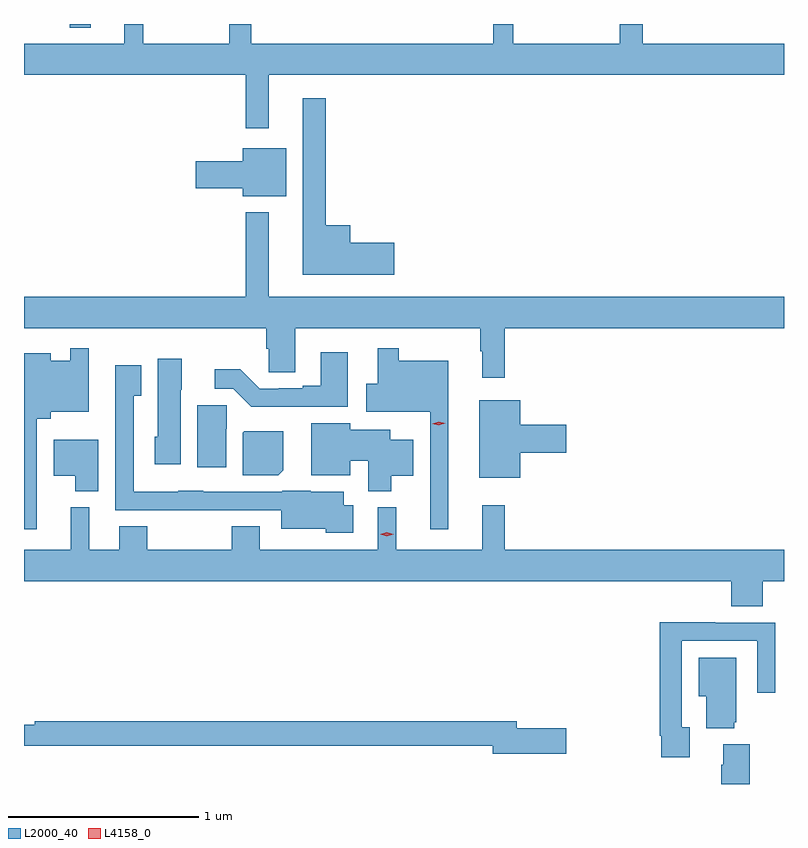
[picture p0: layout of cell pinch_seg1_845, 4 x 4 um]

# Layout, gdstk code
import gdstk
lib = gdstk.Library(unit=1e-6, precision=1e-09)
def R(c, l, rs):  # rectangles x0, y0, x1, y1
    for r in rs: c.add(gdstk.rectangle(r[:2], r[2:], *l))
def P(c, l, *ps):  # polygons
    for p in ps: c.add(gdstk.Polygon(p, *l))
L2000_40 = (2000, 40)
L4158_0 = (4158, 0)

pinch_seg1_845 = lib.new_cell('pinch_seg1_845')
R(pinch_seg1_845, L2000_40, [(483.909,516.017,484.019,516.036)])
P(pinch_seg1_845, L2000_40, [(484.957,515.768),(487.668,515.768),(487.668,515.932),(486.925,515.932),(486.925,516.036),(486.803,516.036),(486.803,515.932),(486.244,515.932),(486.244,516.036),(486.137,516.036),(486.137,515.932),(484.865,515.932),(484.865,516.036),(484.748,516.036),(484.748,515.932),(484.295,515.932),(484.295,516.036),(484.196,516.036),(484.196,515.932),(483.668,515.932),(483.668,515.768),(484.836,515.768),(484.836,515.487),(484.957,515.487)],
  [(485.617,514.886),(485.386,514.886),(485.386,514.978),(485.257,514.978),(485.257,515.644),(485.135,515.644),(485.135,514.715),(485.617,514.715)],
  [(485.047,515.383),(484.82,515.383),(484.82,515.313),(484.572,515.313),(484.572,515.171),(484.82,515.171),(484.82,515.129),(485.047,515.129)],
  [(486.197,514.436),(487.668,514.436),(487.668,514.6),(484.957,514.6),(484.957,515.044),(484.836,515.044),(484.836,514.6),(483.668,514.6),(483.668,514.436),(484.943,514.436),(484.943,514.326),(484.956,514.326),(484.956,514.204),(485.095,514.204),(485.095,514.436),(486.069,514.436),(486.069,514.313),(486.08,514.313),(486.08,514.173),(486.197,514.173)],
  [(483.735,513.959),(483.808,513.959),(483.808,513.995),(484.008,513.995),(484.008,514.33),(483.912,514.33),(483.912,514.264),(483.808,514.264),(483.808,514.303),(483.668,514.303),(483.668,513.378),(483.735,513.378)],
  [(485.902,514.264),(485.641,514.264),(485.641,514.33),(485.531,514.33),(485.531,514.143),(485.468,514.143),(485.468,513.995),(485.805,513.995),(485.805,513.378),(485.902,513.378)],
  [(485.371,514.309),(485.231,514.309),(485.231,514.132),(485.135,514.132),(485.135,514.119),(485.008,514.119),(485.008,514.116),(484.908,514.116),(484.806,514.219),(484.671,514.219),(484.671,514.116),(484.77,514.116),(484.865,514.022),(485.371,514.022)],
  [(484.492,514.11),(484.498,514.11),(484.498,514.273),(484.373,514.273),(484.373,513.864),(484.355,513.864),(484.355,513.72),(484.492,513.72)],
  [(485.401,513.502),(485.35,513.502),(485.35,513.574),(485.178,513.574),(485.178,513.58),(485.028,513.58),(485.028,513.573),(484.611,513.573),(484.611,513.58),(484.479,513.58),(484.479,513.574),(484.245,513.574),(484.245,514.079),(484.285,514.079),(484.285,514.24),(484.148,514.24),(484.148,513.999),(484.149,513.999),(484.149,513.477),(484.379,513.477),(484.379,513.476),(484.611,513.476),(484.611,513.477),(485.021,513.477),(485.021,513.38),(485.256,513.38),(485.256,513.359),(485.401,513.359)],
  [(486.28,513.779),(486.523,513.779),(486.523,513.926),(486.28,513.926),(486.28,514.057),(486.065,514.057),(486.065,513.647),(486.28,513.647)],
  [(484.732,513.906),(484.736,513.906),(484.736,514.029),(484.58,514.029),(484.58,513.702),(484.732,513.702)],
  [(485.602,513.659),(485.716,513.659),(485.716,513.847),(485.596,513.847),(485.596,513.901),(485.386,513.901),(485.386,513.934),(485.18,513.934),(485.18,513.662),(485.386,513.662),(485.386,513.737),(485.48,513.737),(485.48,513.578),(485.602,513.578)],
  [(485.032,513.688),(485.032,513.892),(484.828,513.892),(484.82,513.884),(484.82,513.662),(485.006,513.662)],
  [(484.06,513.847),(483.824,513.847),(483.824,513.659),(483.938,513.659),(483.938,513.578),(484.06,513.578)],
  [(487.556,513.104),(487.668,513.104),(487.668,513.268),(486.197,513.268),(486.197,513.502),(486.08,513.502),(486.08,513.268),(485.627,513.268),(485.627,513.493),(485.529,513.493),(485.529,513.268),(484.909,513.268),(484.909,513.392),(484.762,513.392),(484.762,513.268),(484.317,513.268),(484.317,513.392),(484.169,513.392),(484.169,513.268),(484.012,513.268),(484.012,513.493),(483.914,513.493),(483.914,513.268),(483.668,513.268),(483.668,513.104),(487.391,513.104),(487.391,512.971),(487.556,512.971)],
  [(487.171,512.334),(487.131,512.334),(487.131,512.79),(487.527,512.79),(487.527,512.517),(487.623,512.517),(487.623,512.886),(487.307,512.886),(487.307,512.888),(487.015,512.888),(487.015,512.29),(487.023,512.29),(487.023,512.178),(487.171,512.178)],
  [(487.406,512.361),(487.417,512.361),(487.417,512.701),(487.22,512.701),(487.22,512.498),(487.259,512.498),(487.259,512.33),(487.406,512.33)],
  [(486.523,512.33),(486.262,512.33),(486.262,512.366),(483.724,512.366),(483.724,512.347),(483.668,512.347),(483.668,512.238),(486.134,512.238),(486.134,512.195),(486.523,512.195)],
  [(487.489,512.245),(487.349,512.245),(487.349,512.138),(487.337,512.138),(487.337,512.036),(487.489,512.036)])
P(pinch_seg1_845, L4158_0, [(485.577,513.34),(485.542,513.35),(485.542,513.35),(485.542,513.35),(485.577,513.36),(485.613,513.351),(485.613,513.351),(485.613,513.35)],
  [(485.851,513.923),(485.816,513.932),(485.815,513.932),(485.816,513.932),(485.851,513.943),(485.886,513.935),(485.886,513.934),(485.886,513.934)])

lib.write_gds('pinch_seg1_845.gds')
